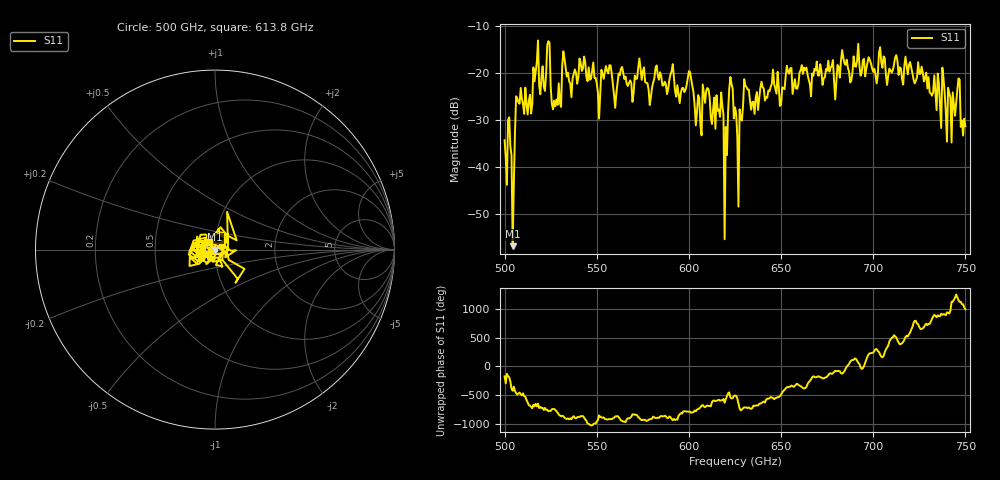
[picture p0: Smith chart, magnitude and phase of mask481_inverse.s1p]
!Created with skrf (http://scikit-rf.org).
# GHz S MA R 50.0
!freq magS11 angS11
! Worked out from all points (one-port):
!   401 points, 500 GHz to 750 GHz, reference 50 ohm
!   lowest |S11| = -57.0 dB at 504.4 GHz (marker M1), VSWR 1.00, Z = 50.1 - j0.128 ohm
!   |S11| at or under -10 dB: start of sweep to end of sweep
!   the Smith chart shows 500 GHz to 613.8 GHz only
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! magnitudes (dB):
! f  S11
! 500 GHz  -34.4
! 502.5 GHz  -29.5
! 504.4 GHz  -57.0
! 507.5 GHz  -26.3
! 513.8 GHz  -24.7
! 516.9 GHz  -19.8
! 520.6 GHz  -18.6
! 523.8 GHz  -13.3
! 526.9 GHz  -26.0
! 531.2 GHz  -18.6
! 560 GHz  -27.5
! 562.5 GHz  -20.6
! 593.8 GHz  -22.6
! 600.6 GHz  -19.9
! 605.6 GHz  -25.4
! 616.2 GHz  -27.8
! 620 GHz  -31.6
! 622.5 GHz  -20.9
! 625 GHz  -27.4
! 627.5 GHz  -27.8
! 631.2 GHz  -23.1
! 634.4 GHz  -26.3
! 656.2 GHz  -24.5
! 687.5 GHz  -22.1
! 718.8 GHz  -20.3
! 741.2 GHz  -24.4
! 745.6 GHz  -23.6
! 750 GHz  -31.4
